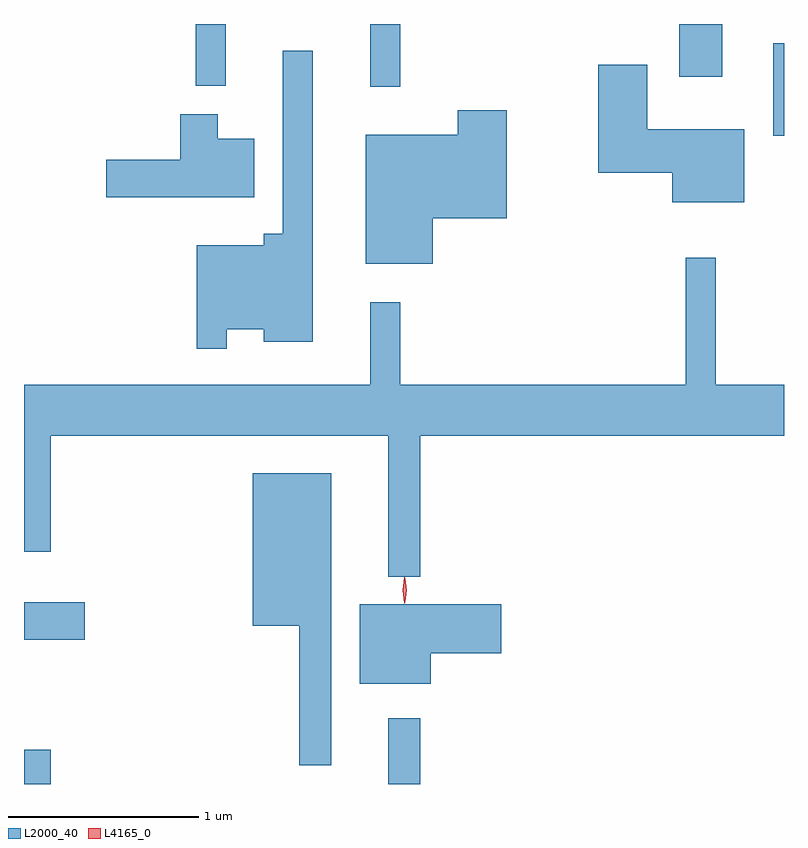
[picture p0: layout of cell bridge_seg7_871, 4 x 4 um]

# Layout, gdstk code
import gdstk
lib = gdstk.Library(unit=1e-6, precision=1e-09)
def R(c, l, rs):  # rectangles x0, y0, x1, y1
    for r in rs: c.add(gdstk.rectangle(r[:2], r[2:], *l))
def P(c, l, *ps):  # polygons
    for p in ps: c.add(gdstk.Polygon(p, *l))
L2000_40 = (2000, 40)
L4165_0 = (4165, 0)

bridge_seg7_871 = lib.new_cell('bridge_seg7_871')
R(bridge_seg7_871, L2000_40, [(574.843,1676.963,574.984,1677.144), (576.761,1676.963,576.929,1677.308), (574.843,1677.721,575.164,1677.919), (578.786,1680.376,578.843,1680.863), (576.666,1680.633,576.824,1680.963), (575.746,1680.638,575.904,1680.963), (578.291,1680.686,578.519,1680.963)])
P(bridge_seg7_871, L2000_40, [(575.909,1679.356),(576.106,1679.356),(576.106,1679.291),(576.364,1679.291),(576.364,1680.823),(576.206,1680.823),(576.206,1679.859),(576.106,1679.859),(576.106,1679.799),(575.751,1679.799),(575.751,1679.253),(575.909,1679.253)],
  [(578.634,1680.409),(578.124,1680.409),(578.124,1680.749),(577.866,1680.749),(577.866,1680.181),(578.256,1680.181),(578.256,1680.026),(578.634,1680.026)],
  [(576.994,1679.941),(577.384,1679.941),(577.384,1680.509),(577.126,1680.509),(577.126,1680.379),(576.641,1680.379),(576.641,1679.701),(576.994,1679.701)],
  [(576.054,1680.359),(575.864,1680.359),(575.864,1680.489),(575.666,1680.489),(575.666,1680.249),(575.276,1680.249),(575.276,1680.051),(576.054,1680.051)],
  [(576.929,1678.796),(578.843,1678.796),(578.843,1679.064),(578.484,1679.064),(578.484,1679.733),(578.326,1679.733),(578.326,1679.064),(576.824,1679.064),(576.824,1679.498),(576.666,1679.498),(576.666,1679.064),(574.843,1679.064),(574.843,1678.186),(574.984,1678.186),(574.984,1678.796),(576.761,1678.796),(576.761,1678.053),(576.929,1678.053)],
  [(576.459,1678.599),(576.046,1678.599),(576.046,1677.796),(576.291,1677.796),(576.291,1677.063),(576.459,1677.063)],
  [(576.984,1677.651),(577.354,1677.651),(577.354,1677.909),(576.611,1677.909),(576.611,1677.491),(576.984,1677.491)])
P(bridge_seg7_871, L4165_0, [(576.848,1677.92),(576.848,1677.92),(576.838,1677.983),(576.848,1678.046),(576.848,1678.047),(576.849,1678.046),(576.858,1677.983),(576.849,1677.92)],
  [(576.845,1677.914),(576.836,1677.982),(576.844,1678.05),(576.845,1678.05),(576.846,1678.05),(576.855,1677.982),(576.846,1677.914),(576.846,1677.914)])

lib.write_gds('bridge_seg7_871.gds')
